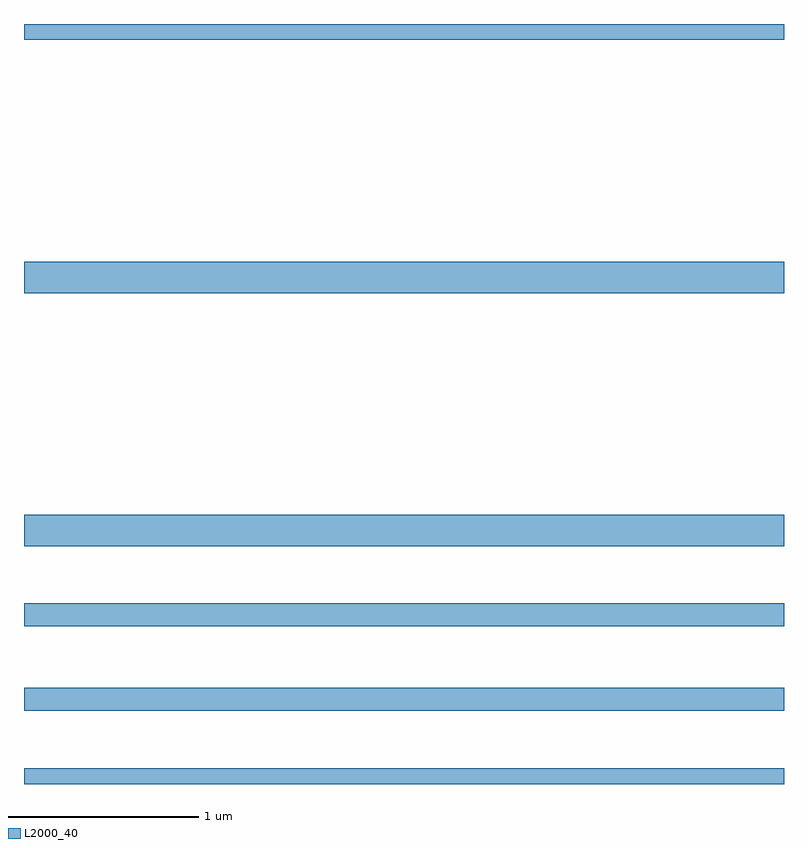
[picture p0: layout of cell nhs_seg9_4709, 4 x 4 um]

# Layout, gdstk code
import gdstk
lib = gdstk.Library(unit=1e-6, precision=1e-09)
def R(c, l, rs):  # rectangles x0, y0, x1, y1
    for r in rs: c.add(gdstk.rectangle(r[:2], r[2:], *l))
L2000_40 = (2000, 40)

nhs_seg9_4709 = lib.new_cell('nhs_seg9_4709')
R(nhs_seg9_4709, L2000_40, [(383,1196.5,387,1196.584), (383,1196.886,387,1197.007), (383,1197.33,387,1197.451), (383,1197.752,387,1197.916), (383,1199.084,387,1199.248), (383,1200.416,387,1200.5)])

lib.write_gds('nhs_seg9_4709.gds')
